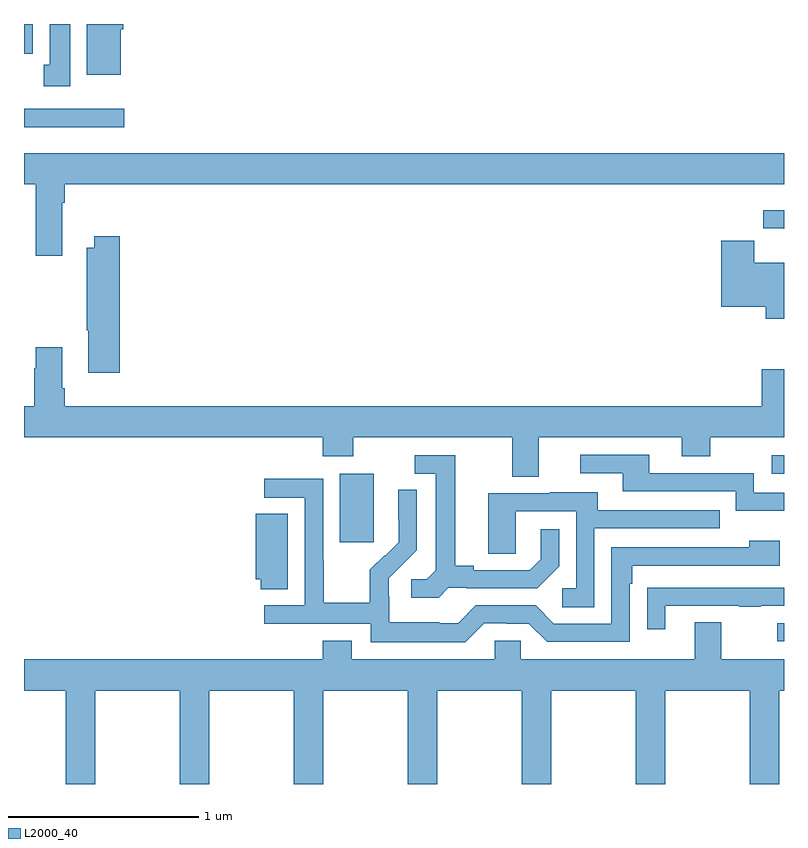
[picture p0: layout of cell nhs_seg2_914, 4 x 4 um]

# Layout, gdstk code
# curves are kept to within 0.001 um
import gdstk
lib = gdstk.Library(unit=1e-6, precision=1e-09)
def R(c, l, rs):  # rectangles x0, y0, x1, y1
    for r in rs: c.add(gdstk.rectangle(r[:2], r[2:], *l))
def P(c, l, *ps):  # polygons
    for p in ps: c.add(gdstk.Polygon(p, *l))
L2000_40 = (2000, 40)

nhs_seg2_914 = lib.new_cell('nhs_seg2_914')
R(nhs_seg2_914, L2000_40, [(160.965,658.551,161,658.647), (158.663,659.073,158.842,659.434), (160.935,659.433,161,659.529), (157,661.256,157.528,661.353), (157,661.644,157.047,661.8)])
P(nhs_seg2_914, L2000_40, [(157.51,661.772),(157.523,661.772),(157.523,661.8),(157.331,661.8),(157.331,661.532),(157.51,661.532)],
  [(157.243,661.8),(157.136,661.8),(157.136,661.585),(157.103,661.585),(157.103,661.473),(157.243,661.473)],
  [(157.201,660.86),(157.214,660.86),(157.214,660.956),(161,660.956),(161,661.12),(157,661.12),(157,660.956),(157.061,660.956),(157.061,660.579),(157.201,660.579)],
  [(161,660.82),(160.89,660.82),(160.89,660.725),(160.999,660.725),(160.999,660.723),(161,660.723)],
  [(157.505,660.682),(157.37,660.682),(157.37,660.622),(157.33,660.622),(157.33,660.187),(157.337,660.187),(157.337,659.964),(157.505,659.964)],
  [(161,660.544),(160.843,660.544),(160.843,660.66),(160.67,660.66),(160.67,660.311),(160.904,660.311),(160.904,660.248),(161,660.248)],
  [(159.709,659.624),(160.463,659.624),(160.463,659.525),(160.611,659.525),(160.611,659.624),(161,659.624),(161,659.983),(160.883,659.983),(160.883,659.788),(157.214,659.788),(157.214,659.884),(157.201,659.884),(157.201,660.1),(157.061,660.1),(157.061,659.987),(157.054,659.987),(157.054,659.788),(157,659.788),(157,659.624),(158.573,659.624),(158.573,659.525),(158.733,659.525),(158.733,659.624),(159.569,659.624),(159.569,659.416),(159.709,659.416)],
  [(161,659.334),(160.842,659.334),(160.842,659.436),(160.291,659.436),(160.291,659.532),(159.927,659.532),(159.927,659.436),(160.151,659.436),(160.151,659.34),(160.746,659.34),(160.746,659.237),(161,659.237)],
  [(159.234,658.833),(159.328,658.833),(159.328,658.83),(159.7,658.83),(159.816,658.946),(159.816,659.14),(159.719,659.14),(159.719,658.983),(159.662,658.926),(159.367,658.926),(159.367,658.949),(159.271,658.949),(159.271,659.529),(159.057,659.529),(159.057,659.433),(159.167,659.433),(159.167,658.925),(159.12,658.878),(159.039,658.878),(159.039,658.781),(159.182,658.781)],
  [(159.423,658.647),(159.539,658.647),(159.539,658.644),(159.657,658.644),(159.753,658.548),(160.188,658.548),(160.188,658.853),(160.201,658.853),(160.201,658.95),(160.978,658.95),(160.978,659.08),(160.817,659.08),(160.817,659.046),(160.092,659.046),(160.092,658.644),(159.789,658.644),(159.693,658.74),(159.378,658.74),(159.285,658.647),(159.185,658.647),(159.185,658.651),(158.922,658.651),(158.922,658.785),(158.92,658.785),(158.92,658.882),(159.066,659.03),(159.066,659.348),(158.97,659.348),(158.97,659.194),(158.972,659.194),(158.972,659.072),(158.901,659.001),(158.898,659.004),(158.821,658.927),(158.821,658.753),(158.577,658.753),(158.577,658.976),(158.574,658.976),(158.574,659.406),(158.265,659.406),(158.265,659.307),(158.478,659.307),(158.478,658.74),(158.265,658.74),(158.265,658.644),(158.826,658.644),(158.826,658.547),(159.323,658.547)],
  [(160.002,659.145),(160.661,659.145),(160.661,659.241),(160.021,659.241),(160.021,659.335),(159.767,659.335),(159.767,659.331),(159.443,659.331),(159.443,659.011),(159.588,659.011),(159.588,659.235),(159.906,659.235),(159.906,658.83),(159.834,658.83),(159.834,658.729),(160.002,658.729)],
  [(158.389,659.222),(158.219,659.222),(158.219,658.878),(158.246,658.878),(158.246,658.825),(158.389,658.825)],
  [(160.375,658.737),(160.765,658.737),(160.765,658.732),(160.877,658.732),(160.877,658.737),(161,658.737),(161,658.833),(160.381,658.833),(160.381,658.832),(160.279,658.832),(160.279,658.614),(160.375,658.614)],
  [(157.374,658.292),(157.819,658.292),(157.819,657.8),(157.974,657.8),(157.974,658.292),(158.419,658.292),(158.419,657.8),(158.574,657.8),(158.574,658.292),(159.019,658.292),(159.019,657.8),(159.174,657.8),(159.174,658.292),(159.619,658.292),(159.619,657.8),(159.774,657.8),(159.774,658.292),(160.219,658.292),(160.219,657.8),(160.374,657.8),(160.374,658.292),(160.819,658.292),(160.819,657.8),(160.974,657.8),(160.974,658.292),(161,658.292),(161,658.456),(160.669,658.456),(160.669,658.651),(160.529,658.651),(160.529,658.456),(159.615,658.456),(159.615,658.554),(159.477,658.554),(159.477,658.456),(158.725,658.456),(158.725,658.555),(158.573,658.555),(158.573,658.456),(157,658.456),(157,658.292),(157.219,658.292),(157.219,657.8),(157.374,657.8)])

lib.write_gds('nhs_seg2_914.gds')
